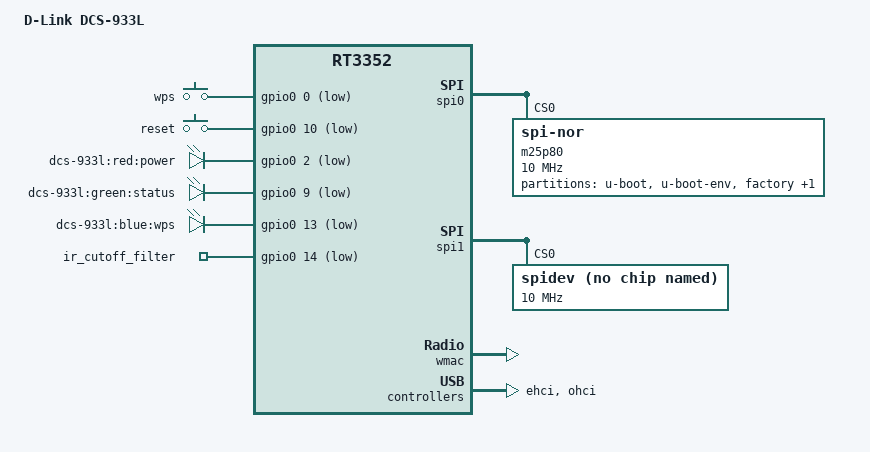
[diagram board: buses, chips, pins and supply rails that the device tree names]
/dts-v1/;

#include "rt3352.dtsi"

#include <dt-bindings/gpio/gpio.h>
#include <dt-bindings/input/input.h>

/ {
	compatible = "DCS-933L", "ralink,rt3352-soc";
	model = "D-Link DCS-933L";

	gpio-keys-polled {
		compatible = "gpio-keys-polled";
		#address-cells = <1>;
		#size-cells = <0>;
		poll-interval = <20>;

		wps {
			label = "wps";
			gpios = <&gpio0 0 GPIO_ACTIVE_LOW>;
			linux,code = <KEY_WPS_BUTTON>;
		};

		reset {
			label = "reset";
			gpios = <&gpio0 10 GPIO_ACTIVE_LOW>;
			linux,code = <KEY_RESTART>;
		};
	};

	gpio-leds {
		compatible = "gpio-leds";

		power {
			label = "dcs-933l:red:power";
			gpios = <&gpio0 2 GPIO_ACTIVE_LOW>;
		};

		status {
			label = "dcs-933l:green:status";
			gpios = <&gpio0 9 GPIO_ACTIVE_LOW>;
		};

		wps {
			label = "dcs-933l:blue:wps";
			gpios = <&gpio0 13 GPIO_ACTIVE_LOW>;
		};
	};

	gpio-export {
		compatible = "gpio-export";
		#size-cells = <0>;

/*		light_sensor {
			gpio-export,name = "light_sensor";
			gpio-export,output = <0>;
			gpios = <&gpio0 11 GPIO_ACTIVE_LOW>;
		};

		ir_led {
			gpio-export,name = "ir_led";
			gpio-export,output = <1>;
			gpios = <&gpio0 12 GPIO_ACTIVE_LOW>;
		};
*/
		ir_cutoff_filter {
			gpio-export,name = "ir_cutoff_filter";
			gpio-export,output = <1>;
			gpios = <&gpio0 14 GPIO_ACTIVE_LOW>;
		};
	};
};

&spi0 {
	status = "okay";

	m25p80@0 {
		#address-cells = <1>;
		#size-cells = <1>;
		compatible = "jedec,spi-nor";
		reg = <0>;
		linux,modalias = "m25p80";
		spi-max-frequency = <10000000>;

		partition@0 {
			label = "u-boot";
			reg = <0x0 0x30000>;
			read-only;
		};

		partition@30000 {
			label = "u-boot-env";
			reg = <0x30000 0x10000>;
			read-only;
		};

		factory: partition@40000 {
			label = "factory";
			reg = <0x40000 0x10000>;
			read-only;
		};

		partition@50000 {
			label = "firmware";
			reg = <0x50000 0x7b0000>;
		};
	};
};

&spi1 {
       status = "okay";

       spidev@0 {
               compatible = "linux,spidev";
               spi-max-frequency = <10000000>;
               reg = <0>;
       };
};

&pinctrl {
	state_default: pinctrl0 {
		gpio {
			ralink,group = "i2c", "jtag", "uartf", "led";
			ralink,function = "gpio";
		};

		rgmii {
			ralink,group = "rgmii";
			ralink,function = "rgmii";
		};

		mdio {
			ralink,group = "mdio";
			ralink,function = "mdio";
		};
	};
};

&ethernet {
	mtd-mac-address = <&factory 0x4>;
};

&esw {
	mediatek,portmap = <0x2f>;
};

&wmac {
	ralink,mtd-eeprom = <&factory 0>;
};

&ehci {
	status = "okay";
};

&ohci {
	status = "okay";
};

